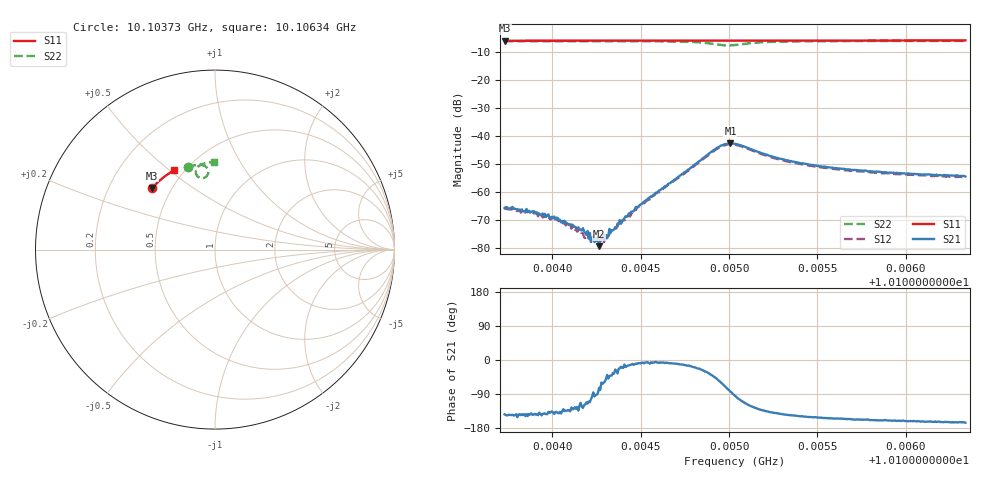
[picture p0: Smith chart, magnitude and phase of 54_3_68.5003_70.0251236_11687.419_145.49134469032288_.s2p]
#  HZ  S  RI  R  50.00
! Rohde & Schwarz Vector Network Analyzer
! Rohde-Schwarz,ZNB20-2Port,1311601062101988,3.16
! Created: UTC 3/20/2024, 4:50:58 PM
! freq[Hz]  re:S11  im:S11  re:S21  im:S21  re:S12  im:S12  re:S22  im:S22
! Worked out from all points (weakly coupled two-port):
!   401 points, 10.10373 GHz to 10.10634 GHz, reference 50 ohm
!   highest |S21| = -42.68 dB at 10.10501 GHz (marker M1); lowest = -79.3 dB at 10.10427 GHz (marker M2)
!   lowest |S11| = -6.2 dB at 10.10373 GHz (marker M3), VSWR 2.93, Z = 19.6 + j17.7 ohm
!   |S11| at or under -10 dB: nowhere
!   |S22| runs from -7.9 to -6.2 dB; largest |S21 - S12| = 0.00074
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1.0103731e10  -0.3496 0.344  -0.000415 -0.000308  -0.000393 -0.000333  -0.1528 0.4581
1.01039e10  -0.3425 0.3517  -0.000352 -0.000275  -0.000305 -0.000282  -0.1413 0.4622
1.0104037e10  -0.3367 0.3578  -0.000244 -0.000199  -0.000194 -0.000232  -0.1318 0.4653
1.0104109e10  -0.3338 0.3609  -0.000149 -0.000212  -0.000136 -0.000177  -0.1266 0.4666
1.0104167e10  -0.3313 0.3635  -0.000114 -0.000176  -6.77e-05 -0.000176  -0.1223 0.4678
1.010418e10  -0.3307 0.364  -9.79e-05 -0.000173  -6.59e-05 -0.000141  -0.1213 0.4681
1.0104233e10  -0.3284 0.3661  1.3e-05 -0.000161  1.35e-05 -0.000147  -0.1172 0.4691
1.0104246e10  -0.3278 0.3668  -5.4e-06 -0.000136  1.6e-05 -0.000132  -0.1162 0.4692
1.0104252e10  -0.3275 0.367  -4.24e-06 -0.000135  4.52e-05 -0.000142  -0.1157 0.4694
1.0104265e10  -0.3269 0.3676  3.17e-05 -0.000104  2.89e-05 -0.000114  -0.1146 0.4697
1.0104304e10  -0.3253 0.3691  0.00011 -0.000132  0.000105 -0.000146  -0.1114 0.4704
1.0104317e10  -0.3248 0.3699  0.00011 -0.000126  0.000121 -0.00011  -0.1104 0.4706
1.010448e10  -0.3175 0.3765  0.000526 -9.09e-05  0.000542 -4.62e-06  -0.0958 0.4728
1.0104604e10  -0.3118 0.3817  0.00105 -0.00014  0.000983 -3.65e-05  -0.0824 0.4731
1.0104917e10  -0.2971 0.3937  0.00403 -0.004  0.00421 -0.00343  -0.0375 0.4275
1.0104962e10  -0.2951 0.3953  0.00314 -0.00608  0.0035 -0.00554  -0.049 0.4063
1.0105008e10  -0.293 0.397  0.000852 -0.0073  0.00142 -0.00692  -0.0749 0.3979
1.0105034e10  -0.292 0.398  -0.000574 -0.00719  5.55e-05 -0.00694  -0.0892 0.4022
1.0105255e10  -0.2817 0.4064  -0.00317 -0.00271  -0.0028 -0.00286  -0.095 0.4611
1.010547e10  -0.271 0.4142  -0.00264 -0.00147  -0.00239 -0.00164  -0.0725 0.4758
1.0105907e10  -0.2491 0.4292  -0.00207 -0.00077  -0.00193 -0.000924  -0.0371 0.485
1.0106337e10  -0.2268 0.4425  -0.00183 -0.000478  -0.00172 -0.000635  -0.00659 0.4883
